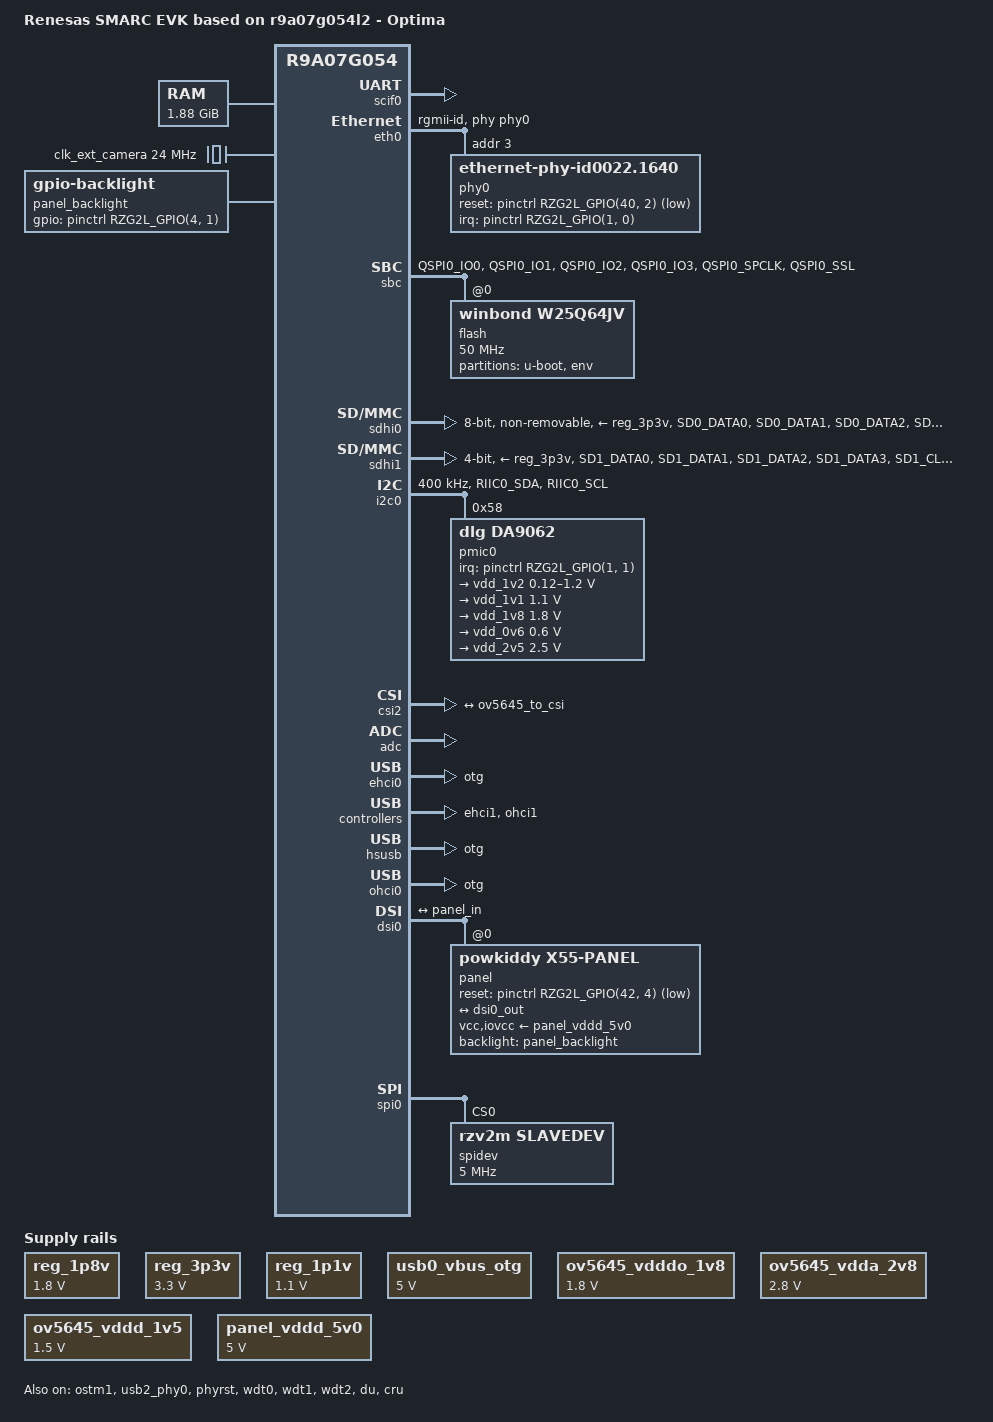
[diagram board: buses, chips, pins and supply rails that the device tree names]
// SPDX-License-Identifier: (GPL-2.0-only OR BSD-2-Clause)
/*
 * Device Tree Source for the RZV2L OPTIMA SOM
 *
 * Copyright (C) 2024 Systems PVT LTD.
 */

/dts-v1/;
#include "r9a07g054l2.dtsi"
#include "rzg2l-smarc-multi-os.dtsi"
#include <dt-bindings/gpio/gpio.h>
#include <dt-bindings/pinctrl/rzg2l-pinctrl.h>
#include <dt-bindings/regulator/dlg,da9063-regulator.h>

/ {
	model = "Renesas SMARC EVK based on r9a07g054l2 - Optima";
	compatible = "renesas,smarc-evk", "renesas,r9a07g054l2", "renesas,r9a07g054";

/* same as rzg2l-smarc.dtsi*/
	aliases {
        serial0 = &scif0;
        serial2 = &scif2;
        serial3 = &scif3;
        serial4 = &scif4;
		//serial5 = &sci0;
		ethernet0 = &eth0;	
		ethernet1 = &eth1;	
		rtc0 = &da9062_rtc;
        i2c3 = &i2c3;
	};

	chosen {
		stdout-path = "serial0:115200n8";
		bootargs = "ignore_loglevel rw root=/dev/nfs ip=on";
	};

	memory@48000000 {
		device_type = "memory";
		/* first 128MB is reserved for secure area. */
		reg = <0x0 0x48000000 0x0 0x78000000>;
	};

/*same as r9a07g054l2-smarc.dts*/
	reserved-memory {
		#address-cells = <2>;
		#size-cells = <2>;
		ranges;

		global_cma: linux,cma@58000000 {
			compatible = "shared-dma-pool";
			linux,cma-default;
			reusable;
			reg = <0x0 0x58000000 0x0 0x10000000>;
		};
		mmp_reserved: linux,multimedia {
			compatible = "shared-dma-pool";
			reusable;
			reg = <0x00000000 0x68000000 0x0 0x8000000>;
		};

        /*same as r9a07g054l2-smarc.dts*/
		/* device specific region for contiguous allocations */
		drp_reserved: DRP-AI {
			reusable;
			reg = <0x0 0x80000000 0x0 0x20000000>;
		};

		image_buf0: image_buf@0 {
			compatible = "shared-dma-pool";
			reusable;
			reg = <0x0 0xB0000000 0x0 0x04000000>;
			label = "image_buf0";
		};

		isp_work0: SIMPLE_ISP {
			reusable;
			reg = <0x0 0xB4000000 0x0 0x03000000>;
		};
	};


        udmabuf@0 {
                compatible = "ikwzm,u-dma-buf";
                device-name = "udmabuf0";
                minor-number = <0>;
                size = <0x4000000>; // 64MiB
                dma-coherent;
                memory-region = <&image_buf0>;
        };


	mmngr {
		compatible = "renesas,mmngr";
		memory-region = <&mmp_reserved>;
	};

	mmngrbuf {
		compatible = "renesas,mmngrbuf";
	};

	vspm_if {
		compatible = "renesas,vspm_if";
	};

	reg_1p8v: regulator0 {
		compatible = "regulator-fixed";
		regulator-name = "fixed-1.8V";
		regulator-min-microvolt = <1800000>;
		regulator-max-microvolt = <1800000>;
		regulator-boot-on;
		regulator-always-on;
	};

	reg_3p3v: regulator1 {
		compatible = "regulator-fixed";
		regulator-name = "fixed-3.3V";
		regulator-min-microvolt = <3300000>;
		regulator-max-microvolt = <3300000>;
		regulator-boot-on;
		regulator-always-on;
	};

	reg_1p1v: regulator-vdd-core {
		compatible = "regulator-fixed";
		regulator-name = "fixed-1.1V";
		regulator-min-microvolt = <1100000>;
		regulator-max-microvolt = <1100000>;
		regulator-boot-on;
		regulator-always-on;
	};


	usb0_vbus_otg: regulator-usb0-vbus-otg {
		compatible = "regulator-fixed";

		regulator-name = "USB0_VBUS_OTG";
		regulator-min-microvolt = <5000000>;
		regulator-max-microvolt = <5000000>;
	};
    
    clk_ext_camera: clk_ext_camera {
        compatible = "fixed-clock";
        #clock-cells = <0>;
        clock-frequency = <24000000>;
    };

    ov5645_vdddo_1v8: 1p8v {
        compatible = "regulator-fixed";
        regulator-name = "camera_vdddo";
        regulator-min-microvolt = <1800000>;
        regulator-max-microvolt = <1800000>;
        regulator-always-on;
    };

    ov5645_vdda_2v8: 2p8v {
        compatible = "regulator-fixed";
        regulator-name = "camera_vdda";
        regulator-min-microvolt = <2800000>;
        regulator-max-microvolt = <2800000>;
        regulator-always-on;
    };

    ov5645_vddd_1v5: 1p5v {
        compatible = "regulator-fixed";
        regulator-name = "camera_vddd";
        regulator-min-microvolt = <1500000>;
        regulator-max-microvolt = <1500000>;
        regulator-always-on;
    };

    panel_vddd_5v0: 5p0v {
        compatible = "regulator-fixed";
        regulator-name = "display_vcc";
        regulator-min-microvolt = <5000000>;
        regulator-max-microvolt = <5000000>;
        regulator-always-on;
    };


    panel_backlight: panel-backlight {
        compatible = "gpio-backlight";
        gpios = <&pinctrl RZG2L_GPIO(4, 1) GPIO_ACTIVE_HIGH>; //BACKLIGHT_PWM
        default-on;
        status = "okay";
    };

    vring-ctl0@43000000 {
        compatible = "vring_uio";
        reg = <0x0 0x43000000 0x0 0x100000>;
        no-map;
    };

    vring-ctl1@43100000 {
        compatible = "vring_uio";
        reg = <0x0 0x43100000 0x0 0x100000>;
        no-map;
    };

    vring-shm0@43200000 {
        compatible = "shm_uio";
        reg = <0x0 0x43200000 0x0 0x300000>;
        no-map;
    };

    vring-shm1@43500000 {
        compatible = "shm_uio";
        reg = <0x0 0x43500000 0x0 0x300000>;
        no-map;
    };

    rsctbl@42f00000 {
        compatible = "shm_uio";
        reg = <0x0 0x42f00000 0x0 0x1000>;
        no-map;
    };

    mhu-shm@42f01000 {
        compatible = "shm_uio";
        reg = <0x0 0x42f01000 0x0 0x1000>;
        no-map;
    };

    mbox-uio@10400000 {
        compatible = "mbox_uio";
        reg = <0x0 0x10400000 0x0 0x1000>;
        interrupt-parent = <&gic>;
        interrupts = <GIC_SPI 75 IRQ_TYPE_LEVEL_HIGH>;
        status = "okay";
    };
};

/*&drpai0 {
        memory-region = <&drp_reserved>;
        linux-memory-region = < &{/memory@48000000} >;
        status = "okay";
};*/


&pinctrl {
/* disabled for SPI-0 */
//	sci0_pins: sci0 {
//		pinmux = <RZG2L_PORT_PINMUX(47, 1, 1)>,	/* TxD */
//			 <RZG2L_PORT_PINMUX(47, 0, 1)>;	/* RxD */
//			 /* <RZG2L_PORT_PINMUX(47, 2, 0)>; */	/* GPIO - RS485 Output Enable */
//	};

    scif0_pins: scif0 {
		pinmux = <RZG2L_PORT_PINMUX(38, 0, 1)>,	/* TxD */
			 <RZG2L_PORT_PINMUX(38, 1, 1)>;	/* RxD */
	};

    scif2_pins: scif2 {
		pinmux = <RZG2L_PORT_PINMUX(48, 0, 1)>,	/* TxD */
			 <RZG2L_PORT_PINMUX(48, 1, 1)>;	/* RxD */
	};

    scif3_pins: scif3 {
		pinmux = <RZG2L_PORT_PINMUX(0, 0, 5)>,	/* TxD */
			 <RZG2L_PORT_PINMUX(0, 1, 5)>;	/* RxD */
	};

    scif4_pins: scif4 {
		pinmux = <RZG2L_PORT_PINMUX(2, 0, 5)>,	/* TxD */
			 <RZG2L_PORT_PINMUX(2, 1, 5)>;	/* RxD */
	};

	can1_pins: can1 {
		pinmux = <RZG2L_PORT_PINMUX(40, 0, 3)>, /* CAN TX */
			 <RZG2L_PORT_PINMUX(40, 1, 3)>; /* CAN RX */
	};

	i2c0_pins: i2c0 {
		pins = "RIIC0_SDA", "RIIC0_SCL";
		input-enable;
	};

	i2c1_pins: i2c1 {
		pins = "RIIC1_SDA", "RIIC1_SCL";
		input-enable;
	};


	i2c3_pins: i2c3 {
		pinmux = <RZG2L_PORT_PINMUX(18, 0, 3)>,	/* SDA */
			 <RZG2L_PORT_PINMUX(18, 1, 3)>;	/* SCL */
    };

	usb0_pins: usb0 {
		pinmux = 
			 <RZG2L_PORT_PINMUX(4, 0, 1)>, /* VBUS */
			 <RZG2L_PORT_PINMUX(5, 0, 1)>, /* OVC */
			 <RZG2L_PORT_PINMUX(5, 1, 1)>; /* OTG_ID */
	};
/* disabled for SPI2
	usb1_pins: usb1 {
		pinmux = <RZG2L_PORT_PINMUX(42, 0, 1)>,  VBUS
			 <RZG2L_PORT_PINMUX(42, 1, 1)>;  OVC
	};
*/
	eth0_pins: eth0 {
		pinmux = <RZG2L_PORT_PINMUX(28, 1, 1)>, /* ET0_LINKSTA */
			 <RZG2L_PORT_PINMUX(27, 1, 1)>, /* ET0_MDC */
			 <RZG2L_PORT_PINMUX(28, 0, 1)>, /* ET0_MDIO */
			 <RZG2L_PORT_PINMUX(20, 0, 1)>, /* ET0_TXC */
			 <RZG2L_PORT_PINMUX(20, 1, 1)>, /* ET0_TX_CTL */
			 <RZG2L_PORT_PINMUX(20, 2, 1)>, /* ET0_TXD0 */
			 <RZG2L_PORT_PINMUX(21, 0, 1)>, /* ET0_TXD1 */
			 <RZG2L_PORT_PINMUX(21, 1, 1)>, /* ET0_TXD2 */
			 <RZG2L_PORT_PINMUX(22, 0, 1)>, /* ET0_TXD3 */
			 <RZG2L_PORT_PINMUX(24, 0, 1)>, /* ET0_RXC */
			 <RZG2L_PORT_PINMUX(24, 1, 1)>, /* ET0_RX_CTL */
			 <RZG2L_PORT_PINMUX(25, 0, 1)>, /* ET0_RXD0 */
			 <RZG2L_PORT_PINMUX(25, 1, 1)>, /* ET0_RXD1 */
			 <RZG2L_PORT_PINMUX(26, 0, 1)>, /* ET0_RXD2 */
			 <RZG2L_PORT_PINMUX(26, 1, 1)>; /* ET0_RXD3 */
	};

	qspi0_pins: qspi0 {
		qspi0-data {
			pins = "QSPI0_IO0", "QSPI0_IO1", "QSPI0_IO2", "QSPI0_IO3";
			power-source = <3300>;
		};

		qspi0-ctrl {
			pins = "QSPI0_SPCLK", "QSPI0_SSL";
			power-source = <3300>;
		};
	};

	sdhi0_emmc_pins: sd0emmc {
		sd0_emmc_data {
			pins = "SD0_DATA0", "SD0_DATA1", "SD0_DATA2", "SD0_DATA3",
			       "SD0_DATA4", "SD0_DATA5", "SD0_DATA6", "SD0_DATA7";
			power-source = <1800>;
		};

		sd0_emmc_ctrl {
			pins = "SD0_CLK", "SD0_CMD";
			power-source = <1800>;
		};

		sd0_emmc_rst {
			pins = "SD0_RST#";
			power-source = <1800>;
		};
	};


	sdhi1_pins: sd1 {
		sd1_data {
			pins = "SD1_DATA0", "SD1_DATA1", "SD1_DATA2", "SD1_DATA3";
			power-source = <3300>;
		};

		sd1_ctrl {
			pins = "SD1_CLK", "SD1_CMD";
			power-source = <3300>;
		};

		sd1_mux {
			pinmux = <RZG2L_PORT_PINMUX(19, 0, 1)>; /* SD1_CD */
		};
	};

    /* rspi 0 */
    spi0_pins: spi0 {
        pinmux = <RZG2L_PORT_PINMUX(43, 0, 1)>, /* CK */
             <RZG2L_PORT_PINMUX(43, 1, 1)>, /* MOSI */
             <RZG2L_PORT_PINMUX(43, 2, 1)>, /* MISO */
             <RZG2L_PORT_PINMUX(43, 3, 1)>; /* SSL */
    };

    /* rspi 1 */
    spi1_pins: spi1 {
        pinmux = <RZG2L_PORT_PINMUX(44, 0, 1)>, /* CK */
             <RZG2L_PORT_PINMUX(44, 1, 1)>, /* MOSI */
             <RZG2L_PORT_PINMUX(44, 2, 1)>, /* MISO */
             <RZG2L_PORT_PINMUX(44, 3, 1)>; /* SSL */
    };
};



&scif0 {
	pinctrl-0 = <&scif0_pins>;
	pinctrl-names = "default";
	status = "okay";
};

&scif2 {
	pinctrl-0 = <&scif2_pins>;
	pinctrl-names = "default";
    uart-has-rtscts;
	status = "disabled";
};

&scif3 {
	pinctrl-0 = <&scif3_pins>;
	pinctrl-names = "default";
	status = "disabled";
};

&scif4 {
	pinctrl-0 = <&scif4_pins>;
	pinctrl-names = "default";
	status = "disabled";
};



/* disabled for SPI-0
&sci0 {
	pinctrl-0 = <&sci0_pins>;
	pinctrl-names = "default";
	status = "okay";
};
*/
&canfd {
	pinctrl-0 = <&can1_pins>;
	pinctrl-names = "default";
	status = "disabled";

	channel1 {
		status = "okay";
	};
};


&eth0 {
	pinctrl-0 = <&eth0_pins>;
	pinctrl-names = "default";
	phy-handle = <&phy0>;
	phy-mode = "rgmii-id"; 
	status = "okay";

	phy0: ethernet-phy@3 {
		compatible = "ethernet-phy-id0022.1640",
			     "ethernet-phy-ieee802.3-c22";
		reg = <3>;
		rxc-skew-psec = <2400>;
		txc-skew-psec = <2400>;
		rxdv-skew-psec = <0>;
		txdv-skew-psec = <0>;
		rxd0-skew-psec = <0>;
		rxd1-skew-psec = <0>;
		rxd2-skew-psec = <0>;
		rxd3-skew-psec = <0>;
		txd0-skew-psec = <0>;
		txd1-skew-psec = <0>;
		txd2-skew-psec = <0>;
		txd3-skew-psec = <0>;

		reset-assert-us = <10000>;
		reset-deassert-us = <10000>;
		reset-gpios = <&pinctrl RZG2L_GPIO(40, 2) GPIO_ACTIVE_LOW>;

		interrupt-parent = <&pinctrl>;
		interrupts = <RZG2L_GPIO(1, 0) IRQ_TYPE_LEVEL_LOW>;
	};
};

&eth1 {
	status = "disabled";
};

&sbc {
	pinctrl-0 = <&qspi0_pins>;
	pinctrl-names = "default";
	status = "okay";

	flash@0 {
		compatible = "winbond,w25q64jv", "spi-flash", "jedec,spi-nor";
		reg = <0>;
		spi-max-frequency = <50000000>;
		spi-rx-bus-width = <4>;
		spi-tx-bus-width = <4>;

		partitions {
			compatible = "fixed-partitions";
			#address-cells = <1>;
			#size-cells = <1>;

			partition@0000000 {
				label = "u-boot";
				reg = <0x00000000 0x760000>;
				read-only;
			};
			partition@80000 {
				label = "env";
				reg = <0x00760000 0x2000>;
				read-only;
			};
		};
	};
};

&sdhi0 {
	pinctrl-0 = <&sdhi0_emmc_pins>;
	pinctrl-1 = <&sdhi0_emmc_pins>;
	pinctrl-names = "default", "state_uhs";

	vmmc-supply = <&reg_3p3v>;
	vqmmc-supply = <&reg_1p8v>;
	bus-width = <8>;
	mmc-hs200-1_8v;
	non-removable;
	fixed-emmc-driver-type = <1>;
	status = "okay";
};

&sdhi1 {
	pinctrl-0 = <&sdhi1_pins>;
	pinctrl-1 = <&sdhi1_pins>;
	pinctrl-names = "default";

	vmmc-supply = <&reg_3p3v>;
	vqmmc-supply = <&reg_3p3v>;
	bus-width = <4>;
	status = "okay";
};

&i2c0 {
	pinctrl-0 = <&i2c0_pins>;
	pinctrl-names = "default";
	clock-frequency = <400000>;
	status = "okay";

	pmic0: da9062@58 {
		compatible = "dlg,da9062";
		reg = <0x58>;
		interrupt-parent = <&pinctrl>;
		interrupts = <RZG2L_GPIO(1, 1) IRQ_TYPE_LEVEL_LOW>;
		interrupt-controller;
		gpio-controller;

		da9062_rtc: rtc {
			compatible = "dlg,da9062-rtc";
			status = "okay";
		};

		da9062_onkey: onkey {
			compatible = "dlg,da9062-onkey";
                        status = "disabled";
		};

		watchdog {
			compatible = "dlg,da9062-watchdog";
			dlg,use-sw-pm;
                        status = "disabled";
		};

		thermal {
			compatible = "dlg,da9062-thermal";
			status = "disabled";
		};

		gpio {
			compatible = "dlg,da9062-gpio";
			status = "disabled";
		};

		regulators {
			vdd_1v2: buck1 {
				regulator-name = "vdd_1V2";
				regulator-min-microvolt = <120000>;
				regulator-max-microvolt = <1200000>;
				regulator-initial-mode = <DA9063_BUCK_MODE_SYNC>;
				regulator-always-on;
			};

			vdd_1v1: buck2 {
				regulator-name = "vdd_1V1";
				regulator-min-microvolt = <1100000>;
				regulator-max-microvolt = <1100000>;
				regulator-initial-mode = <DA9063_BUCK_MODE_SYNC>;
				regulator-always-on;
			};

			vdd_1v8: buck3 {
				regulator-name = "vdd_1V8";
				regulator-min-microvolt = <1800000>;
				regulator-max-microvolt = <1800000>;
				regulator-initial-mode = <DA9063_BUCK_MODE_SYNC>;
				regulator-always-on;
			};

			vdd_0v6: buck4 {
				regulator-name = "vdd_0V6";
				regulator-min-microvolt = <600000>;
				regulator-max-microvolt = <600000>;
				regulator-initial-mode = <DA9063_BUCK_MODE_SYNC>;
				regulator-always-on;
			};


			vdd_2v5: ldo2 {
				regulator-name = "vdd_2V5";
				regulator-min-microvolt = <2500000>;
				regulator-max-microvolt = <2500000>;
				regulator-always-on;
			};
		};

	};
};


&i2c3 {
    pinctrl-0 = <&i2c3_pins>;
    pinctrl-names = "default";

    status = "disabled";

    ov5645: camera@3c {
        compatible = "ovti,ov5645";
        reg = <0x3c>;
        clock-names = "xclk";
        clocks = <&clk_ext_camera>;
        clock-frequency = <24000000>;
        vdddo-supply = <&ov5645_vdddo_1v8>;
        vdda-supply = <&ov5645_vdda_2v8>;
        vddd-supply = <&ov5645_vddd_1v5>;

        port {
            ov5645_to_csi: endpoint {
                clock-lanes = <0>;
                data-lanes = <1 2>;
                remote-endpoint = <&csi2_in>;
            };
        };
    };
};

&csi2 {
    status = "okay";

    ports {
        port {
            csi2_in: endpoint {
                clock-lanes = <0>;
                data-lanes = <1 2>;
                remote-endpoint = <&ov5645_to_csi>;
            };
        };
    };
};

&ov5645 {
    enable-gpios = <&pinctrl RZG2L_GPIO(42, 3) GPIO_ACTIVE_HIGH>;
    reset-gpios = <&pinctrl RZG2L_GPIO(42, 2) GPIO_ACTIVE_LOW>;
};

&adc {
	status = "okay";
};

&extal_clk {
	clock-frequency = <24000000>;
};

&gpu {
	mali-supply = <&reg_1p1v>;
};

&ostm1 {
	status = "okay";
};

&ostm2 {
	status = "disabled";
};

&ehci0 {
	dr_mode = "otg";
	status = "okay";
};

&ehci1 {
	status = "okay";
};

&hsusb {
	dr_mode = "otg";
	status = "okay";
};

&usb2_phy0 {
	pinctrl-0 = <&usb0_pins>;
	pinctrl-names = "default";

	vbus-supply = <&usb0_vbus_otg>;
	status = "okay";
};
/* disabled for SPI2
&usb2_phy1 {
	pinctrl-0 = <&usb1_pins>;
	pinctrl-names = "default";

	status = "okay";
};
*/
&ohci0 {
	dr_mode = "otg";
	status = "okay";
};

&ohci1 {
	status = "okay";
};

&phyrst {
	status = "okay";
};

&wdt0 {
	status = "okay";
	timeout-sec = <60>;
};

&wdt1 {
	status = "okay";
	timeout-sec = <60>;
};

&wdt2 {
	status = "okay";
	timeout-sec = <60>;
};

&ehci0 {
	memory-region = <&global_cma>;
};

&ohci0 {
	memory-region = <&global_cma>;
};

&ehci1 {
	memory-region = <&global_cma>;
};

&ohci1 {
	memory-region = <&global_cma>;
};

&ehci0 {
	memory-region = <&global_cma>;
};

&ohci0 {
	memory-region = <&global_cma>;
};

&ehci1 {
	memory-region = <&global_cma>;
};

&ohci1 {
	memory-region = <&global_cma>;
};

&dsi0 {
    #address-cells = <1>;
    #size-cells = <0>;
    status = "okay";

    ports {
        #address-cells = <1>;
        #size-cells = <0>;

        port@1 {
            dsi0_out: endpoint {
                remote-endpoint = <&panel_in>;
                data-lanes = <1 2>;
            };
        };
    };

    panel@0 {
        compatible = "powkiddy,x55-panel","panel-himax-hx8394";
        reg = <0>;
        vcc-supply = <&panel_vddd_5v0>;
        iovcc-supply = <&panel_vddd_5v0>;
        status = "okay";

        dsi-lanes = <4>;

        reset-gpios = <&pinctrl RZG2L_GPIO(42, 4) GPIO_ACTIVE_LOW>; //LCD_PWEN
        backlight = <&panel_backlight>;

            port {
                panel_in: endpoint {
                    remote-endpoint = <&dsi0_out>;
                };
            };
    };
};

&du {
	status = "okay";
};

&cru {
	status = "okay";
};

&spi0 {
	pinctrl-0 = <&spi0_pins>;
	pinctrl-names = "default";
//	cs-gpios = <RZG2L_PORT_PINMUX(43, 3, 1)>;
	status = "okay";

	spidev@0 {
		compatible = "rzv2m,slavedev";
		reg = <0>;
		spi-max-frequency = <5000000>;
	};

};

&spi1 {
	pinctrl-0 = <&spi1_pins>;
	pinctrl-names = "default";
	cs-gpios = <RZG2L_PORT_PINMUX(44, 3, 1)>;
	status = "disabled";

};
